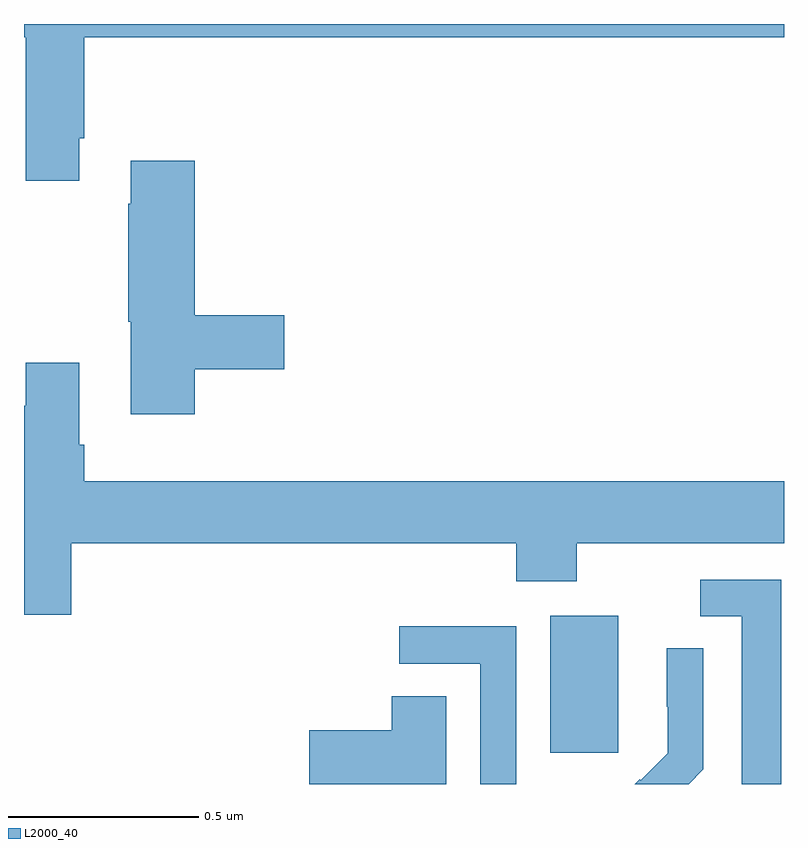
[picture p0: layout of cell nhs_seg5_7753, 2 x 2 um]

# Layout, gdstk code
import gdstk
lib = gdstk.Library(unit=1e-6, precision=1e-09)
def R(c, l, rs):  # rectangles x0, y0, x1, y1
    for r in rs: c.add(gdstk.rectangle(r[:2], r[2:], *l))
def P(c, l, *ps):  # polygons
    for p in ps: c.add(gdstk.Polygon(p, *l))
L2000_40 = (2000, 40)

nhs_seg5_7753 = lib.new_cell('nhs_seg5_7753')
R(nhs_seg5_7753, L2000_40, [(214.385,850.881,214.564,851.242)])
P(nhs_seg5_7753, L2000_40, [(213.145,852.499),(213.158,852.499),(213.158,852.764),(215,852.764),(215,852.799),(213,852.799),(213,852.764),(213.005,852.764),(213.005,852.387),(213.145,852.387)],
  [(213.449,851.89),(213.685,851.89),(213.685,852.032),(213.449,852.032),(213.449,852.439),(213.281,852.439),(213.281,852.326),(213.274,852.326),(213.274,852.015),(213.281,852.015),(213.281,851.772),(213.449,851.772)],
  [(213.124,851.432),(214.295,851.432),(214.295,851.333),(214.455,851.333),(214.455,851.432),(215,851.432),(215,851.596),(213.158,851.596),(213.158,851.692),(213.145,851.692),(213.145,851.908),(213.005,851.908),(213.005,851.795),(213,851.795),(213,851.244),(213.124,851.244)],
  [(214.993,851.337),(214.779,851.337),(214.779,851.241),(214.889,851.241),(214.889,850.799),(214.993,850.799)],
  [(214.296,851.214),(213.987,851.214),(213.987,851.115),(214.2,851.115),(214.2,850.799),(214.296,850.799)],
  [(214.788,850.838),(214.788,851.156),(214.692,851.156),(214.692,851.002),(214.694,851.002),(214.694,850.88),(214.623,850.809),(214.62,850.812),(214.607,850.799),(214.749,850.799)],
  [(214.111,851.03),(213.968,851.03),(213.968,850.94),(213.75,850.94),(213.75,850.799),(214.111,850.799)])

lib.write_gds('nhs_seg5_7753.gds')
